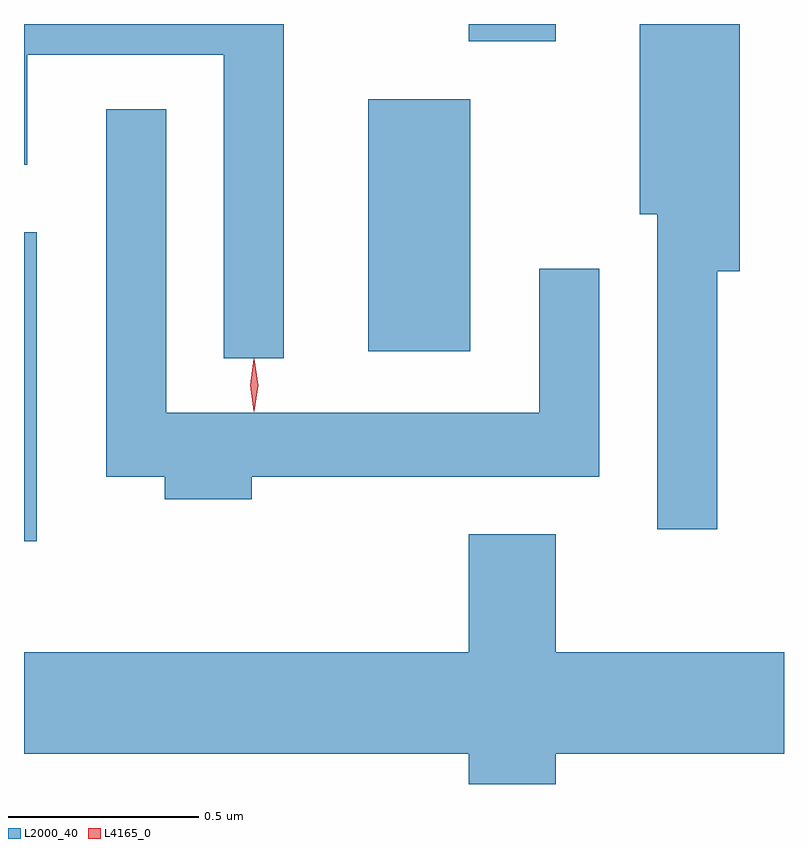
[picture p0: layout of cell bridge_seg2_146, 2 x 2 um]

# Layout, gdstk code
import gdstk
lib = gdstk.Library(unit=1e-6, precision=1e-09)
def R(c, l, rs):  # rectangles x0, y0, x1, y1
    for r in rs: c.add(gdstk.rectangle(r[:2], r[2:], *l))
def P(c, l, *ps):  # polygons
    for p in ps: c.add(gdstk.Polygon(p, *l))
L2000_40 = (2000, 40)
L4165_0 = (4165, 0)

bridge_seg2_146 = lib.new_cell('bridge_seg2_146')
R(bridge_seg2_146, L2000_40, [(1076.82,1108.816,1076.854,1109.629), (1077.726,1109.316,1077.994,1109.979), (1077.991,1110.131,1078.219,1110.177)])
P(bridge_seg2_146, L2000_40, [(1077.504,1110.177),(1076.82,1110.177),(1076.82,1109.806),(1076.829,1109.806),(1076.829,1110.096),(1077.346,1110.096),(1077.346,1109.298),(1077.504,1109.298)],
  [(1078.644,1109.526),(1078.704,1109.526),(1078.704,1110.177),(1078.441,1110.177),(1078.441,1109.676),(1078.486,1109.676),(1078.486,1108.848),(1078.644,1108.848)],
  [(1077.419,1108.986),(1078.334,1108.986),(1078.334,1109.533),(1078.176,1109.533),(1078.176,1109.154),(1077.194,1109.154),(1077.194,1109.953),(1077.036,1109.953),(1077.036,1108.986),(1077.191,1108.986),(1077.191,1108.926),(1077.419,1108.926)],
  [(1078.219,1108.256),(1078.82,1108.256),(1078.82,1108.524),(1078.219,1108.524),(1078.219,1108.834),(1077.991,1108.834),(1077.991,1108.524),(1076.82,1108.524),(1076.82,1108.256),(1077.991,1108.256),(1077.991,1108.177),(1078.219,1108.177)])
P(bridge_seg2_146, L4165_0, [(1077.426,1109.157),(1077.425,1109.158),(1077.416,1109.227),(1077.425,1109.296),(1077.426,1109.296),(1077.426,1109.296),(1077.436,1109.227),(1077.426,1109.158)],
  [(1077.425,1109.159),(1077.425,1109.16),(1077.415,1109.226),(1077.425,1109.292),(1077.425,1109.293),(1077.426,1109.292),(1077.435,1109.226),(1077.426,1109.16)])

lib.write_gds('bridge_seg2_146.gds')
